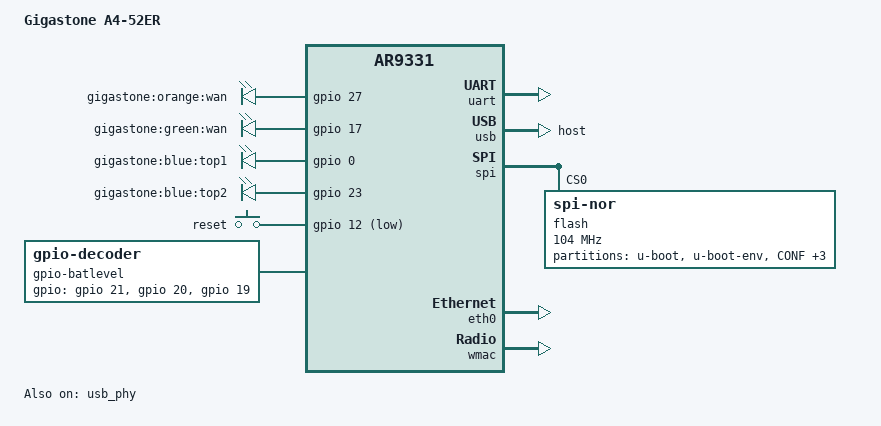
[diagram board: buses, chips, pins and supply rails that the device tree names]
// SPDX-License-Identifier: GPL-2.0
/dts-v1/;

#include <dt-bindings/gpio/gpio.h>
#include <dt-bindings/input/input.h>

#include "ar9331.dtsi"

/ {
	model = "Gigastone A4-52ER";
	compatible = "gigastone,a4-52er", "qca,ar9331";

	aliases {
		serial0 = &uart;
		led-boot = &system;
		led-failsafe = &system;
		led-running = &system;
		led-upgrade = &system;
	};

	leds {
		compatible = "gpio-leds";

		lan-org {
			label = "gigastone:orange:wan";
			gpios = <&gpio 27 GPIO_ACTIVE_HIGH>;
		};

		lan-grn {
			label = "gigastone:green:wan";
			gpios = <&gpio 17 GPIO_ACTIVE_HIGH>;
		};

    blue1 {
			label = "gigastone:blue:top1";
			gpios = <&gpio 0 GPIO_ACTIVE_HIGH>;
		};

		system: blue2 {
			label = "gigastone:blue:top2";
			gpios = <&gpio 23 GPIO_ACTIVE_HIGH>;
		};
	};

	keys {
		compatible = "gpio-keys";

		button0 {
			label = "reset";
			linux,code = <KEY_RESTART>;
			gpios = <&gpio 12 GPIO_ACTIVE_LOW>;
			debounce-interval = <60>;
		};
  };

	// OpenWRT does not enable board level poweroff
	// or the GPIO Poweroff driver needed for this.
	// Can still be used via traditional GPIO control
	// however.
  // gpio-poweroff {
  //   compatible = "gpio-poweroff";
  //   gpios = <&gpio 18 GPIO_ACTIVE_HIGH>;
  // };

  gpio-batlevel {
    compatible = "gpio-decoder";
    gpios = <&gpio 21 GPIO_ACTIVE_HIGH>,
            <&gpio 20 GPIO_ACTIVE_HIGH>,
            <&gpio 19 GPIO_ACTIVE_HIGH>;
  };
};

&ref {
	clock-frequency = <25000000>;
};

&uart {
	status = "okay";
};

&gpio {
	status = "okay";
};

&usb {
	#address-cells = <1>;
	#size-cells = <0>;
	dr_mode = "host";
	status = "okay";

	hub_port: port@1 {
		reg = <1>;
		#trigger-source-cells = <0>;
	};
};

&usb_phy {
	status = "okay";
};

&spi {
	num-chipselects = <1>;
	status = "okay";

	/* Spansion S25FL032PIF SPI flash */
	flash@0 {
		compatible = "jedec,spi-nor";
		spi-max-frequency = <104000000>;
		reg = <0>;

		partitions {
			compatible = "fixed-partitions";
			#address-cells = <1>;
			#size-cells = <1>;

			uboot:	partition@0 {
				label = "u-boot";
				reg = <0x000000 0x040000>;
				read-only;
			};

      partition@040000 {
				label = "u-boot-env";
				reg = <0x040000 0x010000>;
        read-only;
			};

      partition@050000 {
				label = "CONF";
				reg = <0x050000 0x010000>;
        read-only;
			};

      partition@060000 {
				label = "NVRAM";
				reg = <0x060000 0x010000>;
        read-only;
			};

			partition@070000 {
				label = "firmware";
				compatible = "denx,uimage";
				reg = <0x070000 0x780000>;
			};

			art: partition@7f0000 {
				label = "art";
				reg = <0x7f0000 0x010000>;
				read-only;
			};
		};
	};
};


&eth0 {
	status = "okay";

	mtd-mac-address = <&uboot 0x1fc00>;
	gmac-config {
		device = <&gmac>;

		switch-phy-addr-swap = <0>;
		switch-phy-swap = <0>;
	};
};

&eth1 {
	status = "okay";
	compatible = "syscon", "simple-mfd";
};

&wmac {
	status = "okay";
	mtd-cal-data = <&art 0x1000>;
	mtd-mac-address = <&uboot 0x1fc00>;
};
